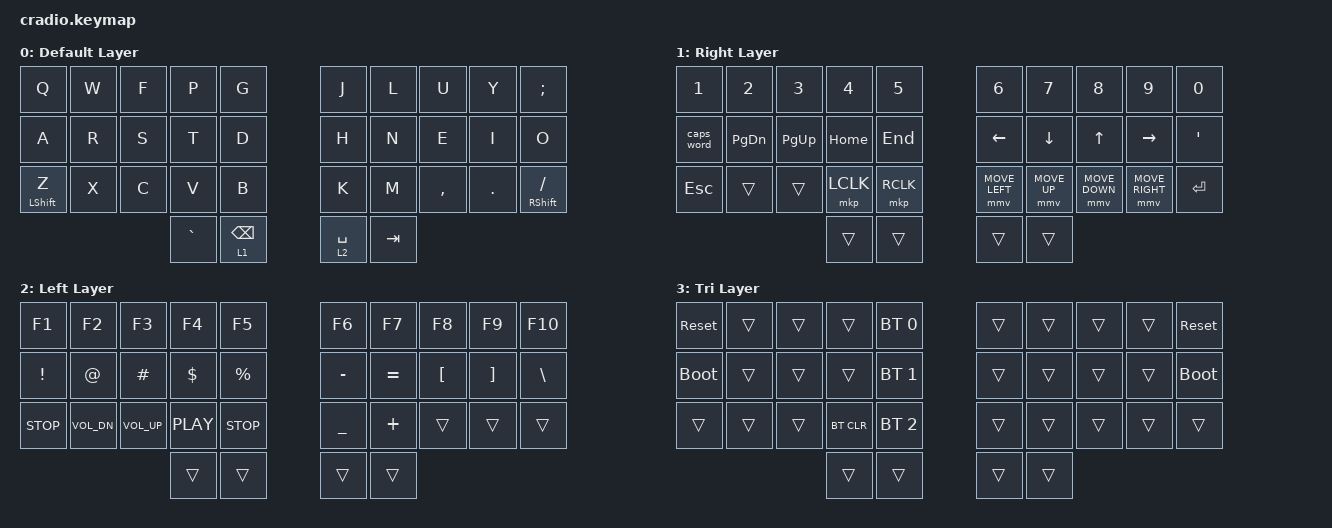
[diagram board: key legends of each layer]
// Copyright (c) 2022 The ZMK Contributors
// SPDX-License-Identifier: MIT

#define ZMK_POINTING_DEFAULT_MOVE_VAL 1200  // default: 600

#include <behaviors.dtsi>
#include <dt-bindings/zmk/bt.h>
#include <dt-bindings/zmk/keys.h>
#include <dt-bindings/zmk/pointing.h>

&mt { quick-tap-ms = <150>; };

/ {
    behaviors {
        ht: hold_tap {
            compatible = "zmk,behavior-hold-tap";
            #binding-cells = <2>;
            flavor = "balanced";
            tapping-term-ms = <280>;
            quick-tap-ms = <175>;
            require-prior-idle-ms = <150>;
            bindings = <&kp>, <&kp>;

            hold-trigger-on-release;
        };
    };

    conditional_layers {
        compatible = "zmk,conditional-layers";

        tri_layer {
            if-layers = <1 2>;
            then-layer = <3>;
        };
    };

    combos {
        compatible = "zmk,combos";

        combo_lcmd {
            bindings = <&kp LGUI>;
            key-positions = <13 12>;
        };

        combo_lctrl {
            bindings = <&kp LCTRL>;
            key-positions = <13 11>;
        };

        combo_lalt {
            bindings = <&kp LEFT_ALT>;
            key-positions = <13 10>;
        };

        combo_rcmd {
            bindings = <&kp RCMD>;
            key-positions = <16 17>;
        };

        combo_rctrl {
            bindings = <&kp RCTRL>;
            key-positions = <16 18>;
        };

        combo_ralt {
            bindings = <&kp RIGHT_ALT>;
            key-positions = <16 19>;
        };
    };

    keymap {
        compatible = "zmk,keymap";

        Base_Layer {
            display-name = "Default Layer";
            bindings = <
&kp Q         &kp W  &kp F  &kp P      &kp G         &kp J        &kp L    &kp U      &kp Y    &kp SEMICOLON
&kp A         &kp R  &kp S  &kp T      &kp D         &kp H        &kp N    &kp E      &kp I    &kp O
&mt LSHIFT Z  &kp X  &kp C  &kp V      &kp B         &kp K        &kp M    &kp COMMA  &kp DOT  &mt RSHIFT FSLH
                            &kp GRAVE  &lt 1 BSPC    &lt 2 SPACE  &kp TAB
            >;
        };

        Numbers {
            display-name = "Right Layer";
            bindings = <
&kp NUMBER_1  &kp NUMBER_2   &kp NUMBER_3  &kp NUMBER_4  &kp N5       &kp NUMBER_6    &kp N7        &kp N8          &kp N9           &kp N0
&caps_word    &kp PAGE_DOWN  &kp PG_UP     &kp HOME      &kp END      &kp LEFT        &kp DOWN      &kp UP          &kp RIGHT        &kp APOS
&kp ESC       &trans         &trans        &mkp LCLK     &mkp RCLK    &mmv MOVE_LEFT  &mmv MOVE_UP  &mmv MOVE_DOWN  &mmv MOVE_RIGHT  &kp ENTER
                                           &trans        &trans       &trans          &trans
            >;
        };

        Sym_Media {
            display-name = "Left Layer";
            bindings = <
&kp F1      &kp F2        &kp F3           &kp F4      &kp F5        &kp F6          &kp F7     &kp F8            &kp F9             &kp F10
&kp EXCL    &kp AT        &kp HASH         &kp DLLR    &kp PRCNT     &kp MINUS       &kp EQUAL  &kp LEFT_BRACKET  &kp RIGHT_BRACKET  &kp BACKSLASH
&kp C_STOP  &kp C_VOL_DN  &kp C_VOLUME_UP  &kp C_PLAY  &kp C_STOP    &kp UNDERSCORE  &kp PLUS   &trans            &trans             &trans
                                           &trans      &trans        &trans          &trans
            >;
        };

        Bluetooth {
            display-name = "Tri Layer";
            bindings = <
&sys_reset   &trans  &trans  &trans      &bt BT_SEL 0    &trans  &trans  &trans  &trans  &sys_reset
&bootloader  &trans  &trans  &trans      &bt BT_SEL 1    &trans  &trans  &trans  &trans  &bootloader
&trans       &trans  &trans  &bt BT_CLR  &bt BT_SEL 2    &trans  &trans  &trans  &trans  &trans
                             &trans      &trans          &trans  &trans
            >;
        };
    };
};
